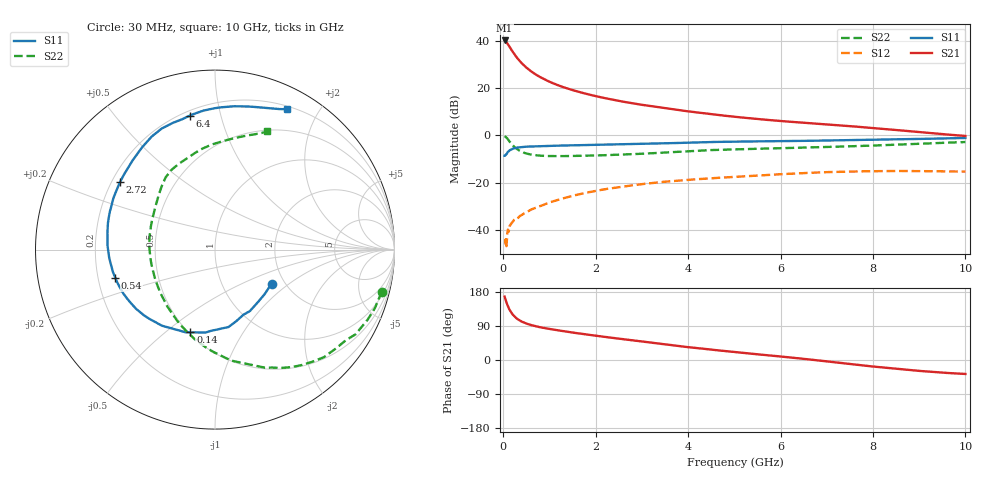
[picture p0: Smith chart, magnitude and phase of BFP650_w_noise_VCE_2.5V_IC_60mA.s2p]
! Infineon Technologies  Discrete & RF Semiconductors
! BFP650
! VCE =  2.5 V,  IC =  60 mA
! Common Emitter S-Parameters:  Jan 2016
# GHz  S  MA  R  50
!  f  S11  S21  S12  S22
! GHz  MAG  ANG  MAG  ANG  MAG  ANG  MAG  ANG
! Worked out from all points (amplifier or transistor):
!   229 points, 30 MHz to 10 GHz, reference 50 ohm
!   highest |S21| = 40.2 dB at 30 MHz (marker M1)
!   |S21| within 3 dB of that: start of sweep to 146.7 MHz
!   unconditionally stable (mu >= 1): 1.718 GHz to end of sweep
!   at 280 MHz: K = 0.50, MSG = 34.4 dB, |S12| = -35.5 dB
!   at 1.78 GHz: K = 1.01, MAG = 20.6 dB, |S12| = -24.4 dB
!   at 10 GHz: K = 1.03, MAG = 6.5 dB, |S12| = -15.4 dB
!   lowest NFmin = 1.07 dB at 450 MHz
!   S11 on the Smith chart (normalised r, x): 30 MHz: 1.72, -0.75; 140 MHz: 0.51, -0.61; 540 MHz: 0.27, -0.13; 2.72 GHz: 0.23, +0.30; 6.4 GHz: 0.23, +0.80; 10 GHz: 0.24, +1.61
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0.03  0.3679 -30.9  101.9 167.4  0.0052 83.6  0.9587 -14.1
0.04  0.3716 -41.9  101 163.2  0.0051 83.6  0.9485 -20.2
0.05  0.3774 -50.3  98.15 158.9  0.0062 101.8  0.9357 -24.7
0.06  0.3936 -60.3  96.89 155.5  0.0062 67.6  0.9147 -31.0
0.08  0.416 -73.5  91.33 148.4  0.006 75.0  0.8692 -39.5
0.11  0.4517 -92.2  82.59 139.3  0.0098 60.5  0.8044 -53.1
0.14  0.4809 -106.5  73.94 131.9  0.0122 65.9  0.7314 -64.0
0.2  0.5169 -124.9  59.64 120.5  0.0146 55.4  0.625 -81.7
0.24  0.5319 -133.6  52.31 115.2  0.0164 54.7  0.5703 -90.9
0.3  0.5499 -143.2  43.5 108.7  0.0167 52.1  0.5117 -102.8
0.4  0.5663 -154.4  33.6 101.3  0.0206 54.6  0.4481 -118.2
0.54  0.5773 -164.2  25.4 94.7  0.0247 54.8  0.4033 -133.8
0.7  0.5862 -172.0  19.48 89.0  0.0292 56.8  0.3791 -147.2
1  0.5988 178.1  13.62 81.9  0.0378 55.9  0.3641 -164.3
1.7  0.6196 162.1  7.981 69.1  0.0583 53.3  0.3686 172.1
2.72  0.6491 144.5  4.91 53.0  0.0854 44.0  0.3962 149.7
3.4  0.6724 134.0  3.875 43.0  0.1019 36.8  0.427 138.5
5.1  0.7377 112.7  2.416 20.0  0.1335 19.7  0.5081 117.5
6.4  0.7595 100.6  1.879 4.3  0.1569 7.2  0.5466 102.6
6.8  0.7707 96.7  1.762 -0.8  0.163 2.7  0.5597 98.9
8.4  0.8175 77.3  1.32 -22.0  0.1754 -14.9  0.6276 80.7
10  0.8784 62.9  0.969 -36.9  0.1705 -27.5  0.7202 66.1
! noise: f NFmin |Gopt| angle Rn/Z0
0.45  1.07  0.44  -171  0.06
0.9  1.08  0.45  -165  0.06
1.9  1.23  0.48  -153  0.07
2.4  1.3  0.46  -142  0.09
3.5  1.52  0.48  -119  0.15
